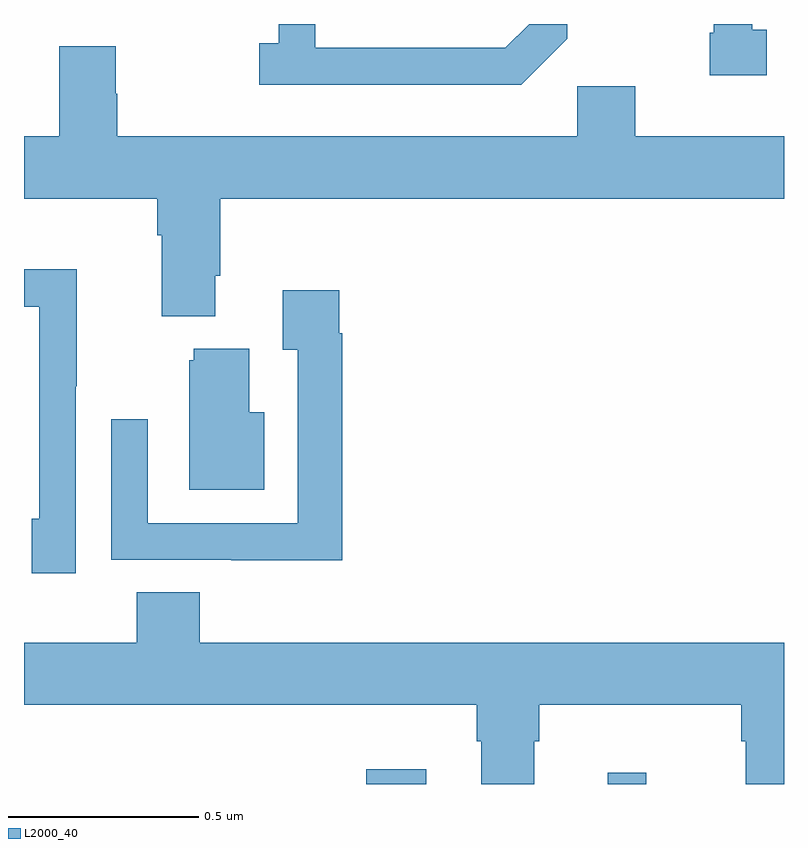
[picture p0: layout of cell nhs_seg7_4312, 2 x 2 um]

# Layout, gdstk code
import gdstk
lib = gdstk.Library(unit=1e-6, precision=1e-09)
def R(c, l, rs):  # rectangles x0, y0, x1, y1
    for r in rs: c.add(gdstk.rectangle(r[:2], r[2:], *l))
def P(c, l, *ps):  # polygons
    for p in ps: c.add(gdstk.Polygon(p, *l))
L2000_40 = (2000, 40)

nhs_seg7_4312 = lib.new_cell('nhs_seg7_4312')
R(nhs_seg7_4312, L2000_40, [(170.9,1075,171.058,1075.039), (171.536,1075,171.638,1075.03)])
P(nhs_seg7_4312, L2000_40, [(171.429,1076.961),(171.429,1077),(171.33,1077),(171.267,1076.937),(170.767,1076.937),(170.767,1077),(170.67,1077),(170.67,1076.95),(170.619,1076.95),(170.619,1076.84),(171.308,1076.84)],
  [(171.955,1076.985),(171.916,1076.985),(171.916,1077),(171.815,1077),(171.815,1076.977),(171.805,1076.977),(171.805,1076.865),(171.955,1076.865)],
  [(170.503,1076.338),(170.516,1076.338),(170.516,1076.54),(172,1076.54),(172,1076.704),(171.608,1076.704),(171.608,1076.836),(171.456,1076.836),(171.456,1076.704),(170.246,1076.704),(170.246,1076.817),(170.241,1076.817),(170.241,1076.942),(170.093,1076.942),(170.093,1076.704),(170,1076.704),(170,1076.54),(170.351,1076.54),(170.351,1076.444),(170.363,1076.444),(170.363,1076.231),(170.503,1076.231)],
  [(170.136,1076.047),(170.139,1076.047),(170.139,1076.354),(170,1076.354),(170,1076.256),(170.04,1076.256),(170.04,1075.698),(170.021,1075.698),(170.021,1075.554),(170.136,1075.554)],
  [(170.837,1076.186),(170.83,1076.186),(170.83,1076.299),(170.681,1076.299),(170.681,1076.143),(170.721,1076.143),(170.721,1075.686),(170.325,1075.686),(170.325,1075.96),(170.229,1075.96),(170.229,1075.59),(170.545,1075.59),(170.545,1075.589),(170.837,1075.589)],
  [(170.632,1075.978),(170.593,1075.978),(170.593,1076.146),(170.447,1076.146),(170.447,1076.115),(170.435,1076.115),(170.435,1075.775),(170.632,1075.775)],
  [(171.343,1075.112),(171.356,1075.112),(171.356,1075.208),(171.887,1075.208),(171.887,1075.112),(171.899,1075.112),(171.899,1075),(172,1075),(172,1075.372),(170.462,1075.372),(170.462,1075.505),(170.297,1075.505),(170.297,1075.372),(170,1075.372),(170,1075.208),(171.191,1075.208),(171.191,1075.112),(171.203,1075.112),(171.203,1075),(171.343,1075)])

lib.write_gds('nhs_seg7_4312.gds')
